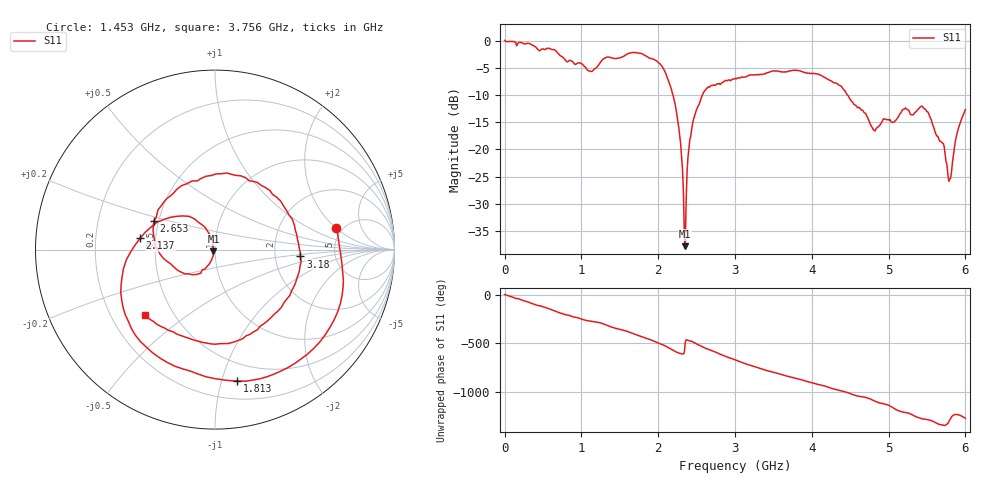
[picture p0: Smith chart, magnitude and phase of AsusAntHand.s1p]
# Hz S RI R 50
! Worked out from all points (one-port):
!   501 points, 1 MHz to 6 GHz, reference 50 ohm
!   lowest |S11| = -37.8 dB at 2.353 GHz (marker M1), VSWR 1.03, Z = 49.1 - j0.922 ohm
!   |S11| at or under -10 dB: 2.192 GHz to 2.576 GHz (384.2 MHz wide, 16.1 % of centre); 4.464 GHz to end of sweep
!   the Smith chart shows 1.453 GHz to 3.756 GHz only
!   S11 on the Smith chart (normalised r, x): 1.453 GHz: 4.37, +2.02; 1.813 GHz: 0.34, -1.12; 2.137 GHz: 0.41, +0.06; 2.653 GHz: 0.47, +0.18; 3.18 GHz: 2.80, -0.28; 3.756 GHz: 0.35, -0.35
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1000000  1.004 -0.00673
3.36944e8  0.0484 -0.9299
6.009e8  -0.7556 -0.3629
7.56874e8  -0.6722 0.2232
9.84836e8  -0.2319 0.5799
1.26079e9  0.28 0.5863
1.452758e9  0.6737 0.1228
1.50075e9  0.6941 0.0112
1.632728e9  0.665 -0.3891
1.812698e9  0.1228 -0.7318
1.992668e9  -0.4662 -0.4385
2.136644e9  -0.4176 0.063
2.256624e9  -0.0921 0.1521
2.352608e9  -0.00881 -0.00938
2.436594e9  -0.0787 -0.1317
2.652558e9  -0.3405 0.1603
3.0005e9  0.3063 0.3293
3.18047e9  0.4763 -0.0384
3.48042e9  0.1146 -0.5115
3.756374e9  -0.3908 -0.3622
3.996334e9  -0.4951 0.0781
4.236294e9  -0.2065 0.3778
4.50025e9  0.1462 0.2486
4.812198e9  0.1431 -0.0423
5.256124e9  -0.1826 -0.14
5.508082e9  -0.1954 0.1048
5.796034e9  -0.0448 0.0285
6e9  -0.2247 0.0574
